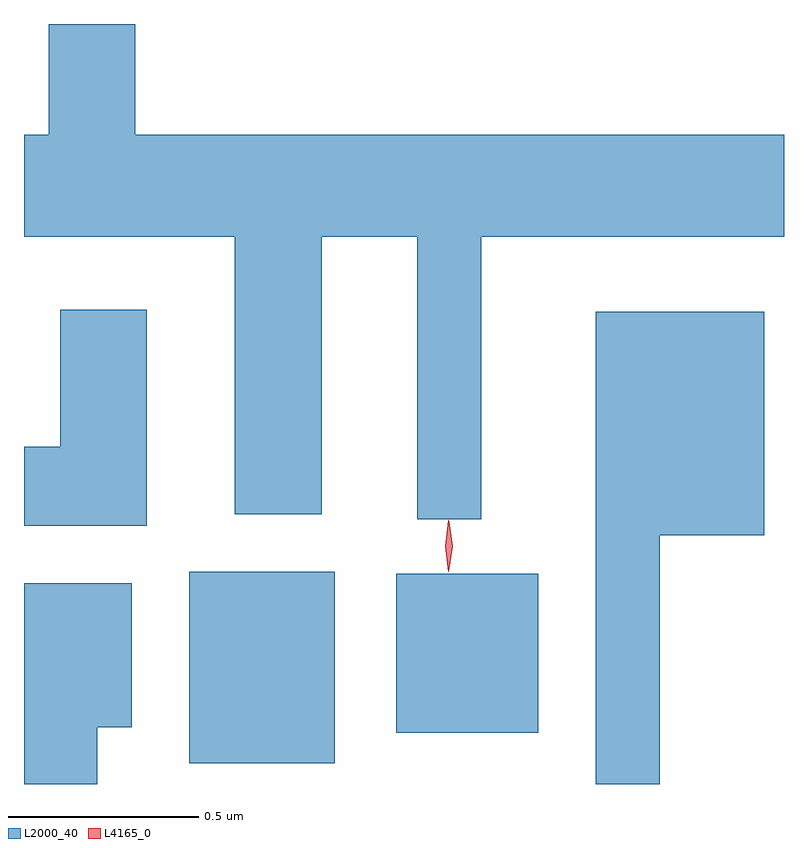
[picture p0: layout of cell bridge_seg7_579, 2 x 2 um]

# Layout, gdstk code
import gdstk
lib = gdstk.Library(unit=1e-6, precision=1e-09)
def R(c, l, rs):  # rectangles x0, y0, x1, y1
    for r in rs: c.add(gdstk.rectangle(r[:2], r[2:], *l))
def P(c, l, *ps):  # polygons
    for p in ps: c.add(gdstk.Polygon(p, *l))
L2000_40 = (2000, 40)
L4165_0 = (4165, 0)

bridge_seg7_579 = lib.new_cell('bridge_seg7_579')
R(bridge_seg7_579, L2000_40, [(981.021,1752.891,981.404,1753.394), (981.566,1752.971,981.939,1753.389)])
P(bridge_seg7_579, L2000_40, [(981.789,1754.276),(982.586,1754.276),(982.586,1754.544),(980.879,1754.544),(980.879,1754.836),(980.651,1754.836),(980.651,1754.544),(980.586,1754.544),(980.586,1754.276),(981.141,1754.276),(981.141,1753.546),(981.369,1753.546),(981.369,1754.276),(981.621,1754.276),(981.621,1753.533),(981.789,1753.533)],
  [(980.909,1754.084),(980.681,1754.084),(980.681,1753.724),(980.586,1753.724),(980.586,1753.516),(980.909,1753.516)],
  [(982.259,1753.491),(982.534,1753.491),(982.534,1754.079),(982.091,1754.079),(982.091,1752.836),(982.259,1752.836)],
  [(980.779,1752.986),(980.869,1752.986),(980.869,1753.364),(980.586,1753.364),(980.586,1752.836),(980.779,1752.836)])
P(bridge_seg7_579, L4165_0, [(981.703,1753.394),(981.694,1753.462),(981.703,1753.53),(981.704,1753.53),(981.704,1753.53),(981.714,1753.462),(981.704,1753.394),(981.704,1753.394)],
  [(981.704,1753.398),(981.703,1753.399),(981.694,1753.463),(981.704,1753.526),(981.705,1753.527),(981.705,1753.526),(981.714,1753.462),(981.704,1753.399)])

lib.write_gds('bridge_seg7_579.gds')
